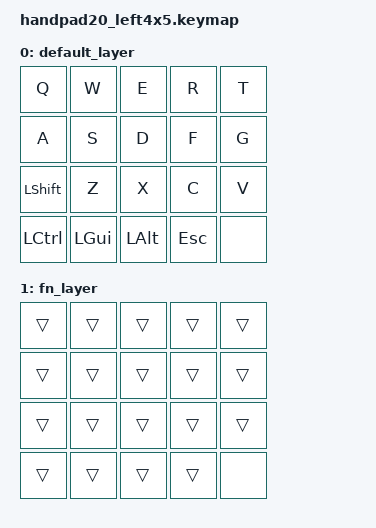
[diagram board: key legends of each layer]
#include <behaviors.dtsi>
#include <dt-bindings/zmk/keys.h>

/ {
    keymap {
        compatible = "zmk,keymap";

        default_layer {
            bindings = <
                &kp Q      &kp W     &kp E    &kp R    &kp T
                &kp A      &kp S     &kp D    &kp F    &kp G
                &kp LSHFT  &kp Z     &kp X    &kp C    &kp V
                &kp LCTRL  &kp LGUI  &kp LALT &kp ESC  &none
            >;
        };

        fn_layer {
            bindings = <
                &trans  &trans  &trans  &trans  &trans
                &trans  &trans  &trans  &trans  &trans
                &trans  &trans  &trans  &trans  &trans
                &trans  &trans  &trans  &trans  &none
            >;
        };
    };
};
